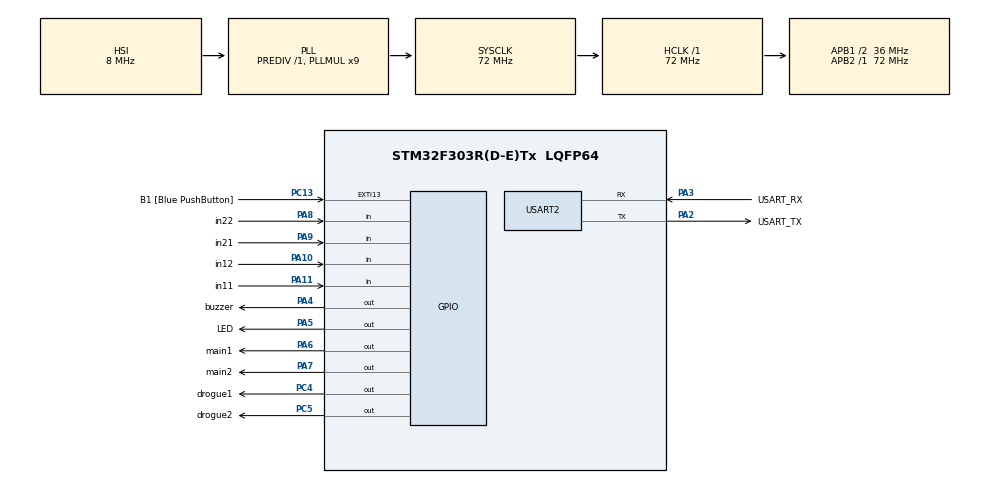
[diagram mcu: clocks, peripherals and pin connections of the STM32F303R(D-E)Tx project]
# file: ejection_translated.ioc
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Mcu.Family=STM32F3
Mcu.Name=STM32F303R(D-E)Tx
Mcu.Package=LQFP64
NVIC.PriorityGroup=NVIC_PRIORITYGROUP_0
PA10.GPIO_Label=in12
PA10.Signal=GPIO_Input
PA11.GPIO_Label=in11
PA11.Signal=GPIO_Input
PA13.GPIO_Label=TMS
PA13.Mode=Serial_Wire
PA13.Signal=SYS_JTMS-SWDIO
PA14.GPIO_Label=TCK
PA14.Mode=Serial_Wire
PA14.Signal=SYS_JTCK-SWCLK
PA2.GPIO_Label=USART_TX
PA2.GPIO_Mode=GPIO_MODE_AF_PP
PA2.GPIO_PuPd=GPIO_NOPULL
PA2.GPIO_Speed=GPIO_SPEED_FREQ_LOW
PA2.Mode=Asynchronous
PA2.Signal=USART2_TX
PA3.GPIO_Label=USART_RX
PA3.GPIO_Mode=GPIO_MODE_AF_PP
PA3.GPIO_PuPd=GPIO_NOPULL
PA3.GPIO_Speed=GPIO_SPEED_FREQ_LOW
PA3.Mode=Asynchronous
PA3.Signal=USART2_RX
PA4.GPIO_Label=buzzer
PA4.Signal=GPIO_Output
PA5.GPIO_Label=LED
PA5.GPIO_Mode=GPIO_MODE_OUTPUT_PP
PA5.GPIO_PuPd=GPIO_NOPULL
PA5.GPIO_Speed=GPIO_SPEED_FREQ_LOW
PA5.Signal=GPIO_Output
PA6.GPIO_Label=main1
PA6.Signal=GPIO_Output
PA7.GPIO_Label=main2
PA7.Signal=GPIO_Output
PA8.GPIO_Label=in22
PA8.Signal=GPIO_Input
PA9.GPIO_Label=in21
PA9.Signal=GPIO_Input
PB3.GPIO_Label=SWO
PB3.Signal=SYS_JTDO-TRACESWO
PC13.GPIO_Label=B1 [Blue PushButton]
PC13.GPIO_ModeDefaultEXTI=GPIO_MODE_IT_FALLING
PC13.Signal=GPXTI13
PC14-OSC32_IN.Mode=LSE-External-Oscillator
PC14-OSC32_IN.Signal=RCC_OSC32_IN
PC15-OSC32_OUT.Mode=LSE-External-Oscillator
PC15-OSC32_OUT.Signal=RCC_OSC32_OUT
PC4.GPIO_Label=drogue1
PC4.Signal=GPIO_Output
PC5.GPIO_Label=drogue2
PC5.Signal=GPIO_Output
PF0-OSC_IN.Mode=HSE-External-Clock-Source
PF0-OSC_IN.Signal=RCC_OSC_IN
PF1-OSC_OUT.Signal=RCC_OSC_OUT
ProjectManager.HeapSize=0x200
ProjectManager.StackSize=0x400
ProjectManager.TargetToolchain=STM32CubeIDE
RCC.AHBFreq_Value=72000000
RCC.APB1CLKDivider=RCC_HCLK_DIV2
RCC.APB1Freq_Value=36000000
RCC.APB1TimFreq_Value=72000000
RCC.APB2Freq_Value=72000000
RCC.APB2TimFreq_Value=72000000
RCC.CortexFreq_Value=72000000
RCC.HCLKFreq_Value=72000000
RCC.HSE_VALUE=8000000
RCC.HSI_VALUE=8000000
RCC.PLLM=8
RCC.PLLMUL=RCC_PLL_MUL9
RCC.PLLN=336
RCC.PLLP=RCC_PLLP_DIV4
RCC.PLLQ=7
RCC.RCC_PLLsource_Clock_Source_FROM_HSE=RCC_HSE_PREDIV_DIV2
RCC.SYSCLKFreq_VALUE=72000000
RCC.SYSCLKSourceVirtual=RCC_SYSCLKSOURCE_PLLCLK
RCC.USBFreq_Value=72000000
USART2.VirtualMode-Asynchronous=VM_ASYNC
board=NUCLEO-F303RE

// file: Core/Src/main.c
/* USER CODE BEGIN Header */
/**
 ******************************************************************************
 * @file           : main.c
 * @brief          : Main program body
 ******************************************************************************
 * @attention
 *
 * <h2><center>&copy; Copyright (c) 2021 STMicroelectronics.
 * All rights reserved.</center></h2>
 *
 * This software component is licensed by ST under BSD 3-Clause license,
 * the "License"; You may not use this file except in compliance with the
 * License. You may obtain a copy of the License at:
 *                        opensource.org/licenses/BSD-3-Clause
 *
 ******************************************************************************
 */
/* USER CODE END Header */
#include "main.h"

UART_HandleTypeDef huart2;

/* USER CODE BEGIN PV */
// Control variables
float local_pressure = 101200.0; //hPa (sea level)
float threshold_altitude = 10000; //feet
float main_deployment = 1500; //feet
long drogue_delay = 500; // milliseconds. time that drogue is HIGH
long main_delay = 500; // milliseconds. time that main is HIGH

// Configuration variables
float freq = 3750; // buzzer sound frequency.
float a = 1; // Cut-off frequency of low-pass filter in Hz.
#define num_meas 10 // Number of historic measurements for averaging.

// Programming variables
float alt_meas;
float ground_alt = 0.0;
float T; // sampling period, time of each loop
float alt_previous[num_meas];
float alt_filtered;
float t_previous_loop, t_previous_buzz;
float average_gradient;
int apogee_reached = 0;
int launched = 0;
int main_deployed = 0;

// Relay output checks
int R11; // drogue1
int R12; // drogue2
int R21; // main1
int R22; // main2

long time11;
long time12;
long time21;
long time22;

uint16_t size;
uint8_t Data[256];
/* USER CODE END PV */

void SystemClock_Config(void);
static void MX_GPIO_Init(void);
static void MX_USART2_UART_Init(void);

int main(void)
{
  /* USER CODE BEGIN 1 */
	// Initialise SysTick to tick at 1ms by initialising it with SystemCoreClock (Hz)/1000

  /* USER CODE END 1 */

  /* MCU Configuration--------------------------------------------------------*/

  /* Reset of all peripherals, Initializes the Flash interface and the Systick. */
  HAL_Init();

  /* Configure the system clock */
  SystemClock_Config();

  /* Initialize all configured peripherals */
  MX_GPIO_Init();
  MX_USART2_UART_Init();

  /* Infinite loop */
	while (1)
	{

	}
}

void SystemClock_Config(void)
{
  RCC_OscInitTypeDef RCC_OscInitStruct = {0};
  RCC_ClkInitTypeDef RCC_ClkInitStruct = {0};
  RCC_PeriphCLKInitTypeDef PeriphClkInit = {0};

  /** Initializes the RCC Oscillators according to the specified parameters
  * in the RCC_OscInitTypeDef structure.
  */
  RCC_OscInitStruct.OscillatorType = RCC_OSCILLATORTYPE_HSI;
  RCC_OscInitStruct.HSIState = RCC_HSI_ON;
  RCC_OscInitStruct.HSICalibrationValue = RCC_HSICALIBRATION_DEFAULT;
  RCC_OscInitStruct.PLL.PLLState = RCC_PLL_ON;
  RCC_OscInitStruct.PLL.PLLSource = RCC_PLLSOURCE_HSI;
  RCC_OscInitStruct.PLL.PLLMUL = RCC_PLL_MUL9;
  RCC_OscInitStruct.PLL.PREDIV = RCC_PREDIV_DIV1;
  if (HAL_RCC_OscConfig(&RCC_OscInitStruct) != HAL_OK)
  {
    Error_Handler();
  }
  /** Initializes the CPU, AHB and APB buses clocks
  */
  RCC_ClkInitStruct.ClockType = RCC_CLOCKTYPE_HCLK|RCC_CLOCKTYPE_SYSCLK
                              |RCC_CLOCKTYPE_PCLK1|RCC_CLOCKTYPE_PCLK2;
  RCC_ClkInitStruct.SYSCLKSource = RCC_SYSCLKSOURCE_PLLCLK;
  RCC_ClkInitStruct.AHBCLKDivider = RCC_SYSCLK_DIV1;
  RCC_ClkInitStruct.APB1CLKDivider = RCC_HCLK_DIV2;
  RCC_ClkInitStruct.APB2CLKDivider = RCC_HCLK_DIV1;

  if (HAL_RCC_ClockConfig(&RCC_ClkInitStruct, FLASH_LATENCY_2) != HAL_OK)
  {
    Error_Handler();
  }
  PeriphClkInit.PeriphClockSelection = RCC_PERIPHCLK_USART2;
  PeriphClkInit.Usart2ClockSelection = RCC_USART2CLKSOURCE_PCLK1;
  if (HAL_RCCEx_PeriphCLKConfig(&PeriphClkInit) != HAL_OK)
  {
    Error_Handler();
  }
}

static void MX_USART2_UART_Init(void)
{

  huart2.Instance = USART2;
  huart2.Init.BaudRate = 38400;
  huart2.Init.WordLength = UART_WORDLENGTH_8B;
  huart2.Init.StopBits = UART_STOPBITS_1;
  huart2.Init.Parity = UART_PARITY_NONE;
  huart2.Init.Mode = UART_MODE_TX_RX;
  huart2.Init.HwFlowCtl = UART_HWCONTROL_NONE;
  huart2.Init.OverSampling = UART_OVERSAMPLING_16;
  huart2.Init.OneBitSampling = UART_ONE_BIT_SAMPLE_DISABLE;
  huart2.AdvancedInit.AdvFeatureInit = UART_ADVFEATURE_NO_INIT;
  if (HAL_UART_Init(&huart2) != HAL_OK)
  {
    Error_Handler();
  }

}

static void MX_GPIO_Init(void)
{
  GPIO_InitTypeDef GPIO_InitStruct = {0};

  /* GPIO Ports Clock Enable */
  __HAL_RCC_GPIOC_CLK_ENABLE();
  __HAL_RCC_GPIOF_CLK_ENABLE();
  __HAL_RCC_GPIOA_CLK_ENABLE();
  __HAL_RCC_GPIOB_CLK_ENABLE();

  /*Configure GPIO pin Output Level */
  HAL_GPIO_WritePin(GPIOA, buzzer_Pin|LED_Pin|main1_Pin|main2_Pin, GPIO_PIN_RESET);

  /*Configure GPIO pin Output Level */
  HAL_GPIO_WritePin(GPIOC, drogue1_Pin|drogue2_Pin, GPIO_PIN_RESET);

  /*Configure GPIO pin : B1_Pin */
  GPIO_InitStruct.Pin = B1_Pin;
  GPIO_InitStruct.Mode = GPIO_MODE_IT_FALLING;
  GPIO_InitStruct.Pull = GPIO_NOPULL;
  HAL_GPIO_Init(B1_GPIO_Port, &GPIO_InitStruct);

  /*Configure GPIO pins : buzzer_Pin LED_Pin main1_Pin main2_Pin */
  GPIO_InitStruct.Pin = buzzer_Pin|LED_Pin|main1_Pin|main2_Pin;
  GPIO_InitStruct.Mode = GPIO_MODE_OUTPUT_PP;
  GPIO_InitStruct.Pull = GPIO_NOPULL;
  GPIO_InitStruct.Speed = GPIO_SPEED_FREQ_LOW;
  HAL_GPIO_Init(GPIOA, &GPIO_InitStruct);

  /*Configure GPIO pins : drogue1_Pin drogue2_Pin */
  GPIO_InitStruct.Pin = drogue1_Pin|drogue2_Pin;
  GPIO_InitStruct.Mode = GPIO_MODE_OUTPUT_PP;
  GPIO_InitStruct.Pull = GPIO_NOPULL;
  GPIO_InitStruct.Speed = GPIO_SPEED_FREQ_LOW;
  HAL_GPIO_Init(GPIOC, &GPIO_InitStruct);

  /*Configure GPIO pins : in22_Pin in21_Pin in12_Pin in11_Pin */
  GPIO_InitStruct.Pin = in22_Pin|in21_Pin|in12_Pin|in11_Pin;
  GPIO_InitStruct.Mode = GPIO_MODE_INPUT;
  GPIO_InitStruct.Pull = GPIO_NOPULL;
  HAL_GPIO_Init(GPIOA, &GPIO_InitStruct);

}

/* USER CODE BEGIN 4 */
///These are empty functions
///Original ones can be obtained from external libraries (I do not have access to them at the moment :( )
int begin(void){
	return 1;
}

float readAltitude(float local_pressure){
	return local_pressure;
}

///Empty functions end here
#define false 0
#define true 1

void setup() {
	HAL_GPIO_WritePin(drogue1_GPIO_Port, drogue1_Pin, GPIO_PIN_RESET);
	HAL_GPIO_WritePin(drogue2_GPIO_Port, drogue2_Pin, GPIO_PIN_RESET);
	HAL_GPIO_WritePin(main1_GPIO_Port, main1_Pin, GPIO_PIN_RESET);
	HAL_GPIO_WritePin(main2_GPIO_Port, main2_Pin, GPIO_PIN_RESET);
	HAL_GPIO_WritePin(buzzer_GPIO_Port, buzzer_Pin, GPIO_PIN_RESET);
	HAL_GPIO_WritePin(LED_GPIO_Port, LED_Pin, GPIO_PIN_SET);

	if (!begin()){
		///printf("\r\nCould not find a valid BME280 sensor, check wiring!");
		size = sprintf((char *)Data, "Could not find a valid BME280 sensor, check wiring\n");
		HAL_UART_Transmit(&huart2, Data, size, 1000);
		HAL_Delay(2000);

		HAL_GPIO_WritePin(buzzer_GPIO_Port, buzzer_Pin, GPIO_PIN_RESET);

		HAL_Delay(5000);
		HAL_GPIO_WritePin(buzzer_GPIO_Port, buzzer_Pin, GPIO_PIN_RESET);
		while (1);
	} else {
		int i;
		for (i = 0 ; i < 3; i++){
			HAL_GPIO_WritePin(buzzer_GPIO_Port, buzzer_Pin, GPIO_PIN_RESET);
			HAL_Delay(100);
			HAL_GPIO_WritePin(buzzer_GPIO_Port, buzzer_Pin, GPIO_PIN_RESET);
			HAL_Delay(100);
		}
	}

	for (int i = 0; i < 500; i++){
		ground_alt += readAltitude(local_pressure/100.0); //takes sea-level pressure and reads alt 500 times
	}
	ground_alt = ground_alt/500.0; //average of alt readings
	a = 2*3.14159*a;
}

void loop() {
	if (main_deployed == false){
		T = (HAL_GetTick() - t_previous_loop)/1000; //millis() = time since program start running T running time of curr loop (s)
		t_previous_loop = HAL_GetTick(); //total time

		alt_meas = (readAltitude(local_pressure/100) - ground_alt)*3.28084; //Measures AGL altitude in feet

		// Low-pass filter - rocket at high speeds pressure fluctuates and affects altitude reading, usaully at a high frequency, so low pass filter filters those high freuqency changes out
		//and keeps just the overall, low frequency changes (caused by altitude change)
		alt_filtered = (1 - T * a) * alt_previous[num_meas-1] + a * T * alt_meas;

		// Slide window of 10 measurement history.
		for (int i = 0; i < num_meas-1; i++){
			alt_previous[i] = alt_previous[i+1];
		}
		alt_previous[num_meas-1] = alt_filtered;

		// Launch Detection
		if (alt_filtered > 150 && launched == false){
			launched = true;
		}

		//Average gradient of 10 past measurements.
		average_gradient = 0;
		for (int i = 0; i < num_meas-1; i++){
			average_gradient += (alt_previous[i+1]- alt_previous[i]);
		}
		if (T>0){
			average_gradient /= (num_meas);
		}

		// Apogee detection
		if (alt_filtered > threshold_altitude && launched && apogee_reached == false){

			if (average_gradient < -2){ //what is the purpose of this -2?
				apogee_reached = true;
				HAL_GPIO_WritePin(drogue1_GPIO_Port, drogue1_Pin, GPIO_PIN_SET);
				HAL_GPIO_WritePin(drogue2_GPIO_Port, drogue2_Pin, GPIO_PIN_SET);
				HAL_Delay(drogue_delay);

				/* This part is commented out because the original arduino code commented this part out as well

				R11 = HAL_GIPO_ReadPin(in11_GPIO_Port, in11_Pin);
				R12 = HAL_GIPO_ReadPin(in12_GPIO_Port, in12_Pin);
				if(R11){
					time11 = HAL_GetTick();
				}if(R12){
					time12 = HAL_GetTick();
				}
				 */

				HAL_GPIO_WritePin(drogue1_GPIO_Port, drogue1_Pin, GPIO_PIN_RESET);
				HAL_GPIO_WritePin(drogue2_GPIO_Port, drogue2_Pin, GPIO_PIN_RESET);
			}
		}

		// Main Deployment detection
		if (apogee_reached && alt_filtered < main_deployment && main_deployed == false){
			main_deployed = true;
			HAL_GPIO_WritePin(main1_GPIO_Port, main1_Pin, GPIO_PIN_SET);
			HAL_GPIO_WritePin(main2_GPIO_Port, main2_Pin, GPIO_PIN_SET);
			HAL_Delay(main_delay);

			/* This part is commented out because the original arduino code commented this part out as well

			R21 = HAL_GIPO_ReadPin(in21_GPIO_Port, in21_Pin);
			R22 = HAL_GIPO_ReadPin(in22_GPIO_Port, in22_Pin);
			if(R21){
				time21 = HAL_GetTick();
			}if(R22){
				time22 = HAL_GetTick();
			}
			 */

			HAL_GPIO_WritePin(main1_GPIO_Port, main1_Pin, GPIO_PIN_RESET);
			HAL_GPIO_WritePin(main2_GPIO_Port, main2_Pin, GPIO_PIN_RESET);
		}

	}
	else{ //Longer buzz to indicate program completion

		HAL_GPIO_WritePin(buzzer_GPIO_Port, buzzer_Pin, GPIO_PIN_SET);
		HAL_Delay(1000);
		HAL_GPIO_WritePin(buzzer_GPIO_Port, buzzer_Pin, GPIO_PIN_RESET);
		HAL_Delay(1000);

	}
	//Just for debuggging.
	// printf("alt_meas = %d,  average_gradient = %d, alt_filtered = %d",alt_meas,average_gradient,alt_filtered);

	size = sprintf((char *)Data,", alt_meas: %.2d\n", alt_meas);
	HAL_UART_Transmit(&huart2, Data, size, 1000);

	size = sprintf((char *)Data,", average_gradient: %.2d\n", average_gradient);
	HAL_UART_Transmit(&huart2, Data, size, 1000);

	size = sprintf((char *)Data,", alt_filtered: %.2d\n", alt_filtered);
	HAL_UART_Transmit(&huart2, Data, size, 1000);

	HAL_Delay(5);
}

/* USER CODE END 4 */

void Error_Handler(void)
{
	__disable_irq();
	while (1)
	{
	}
}

/************************ (C) COPYRIGHT STMicroelectronics *****END OF FILE****/
